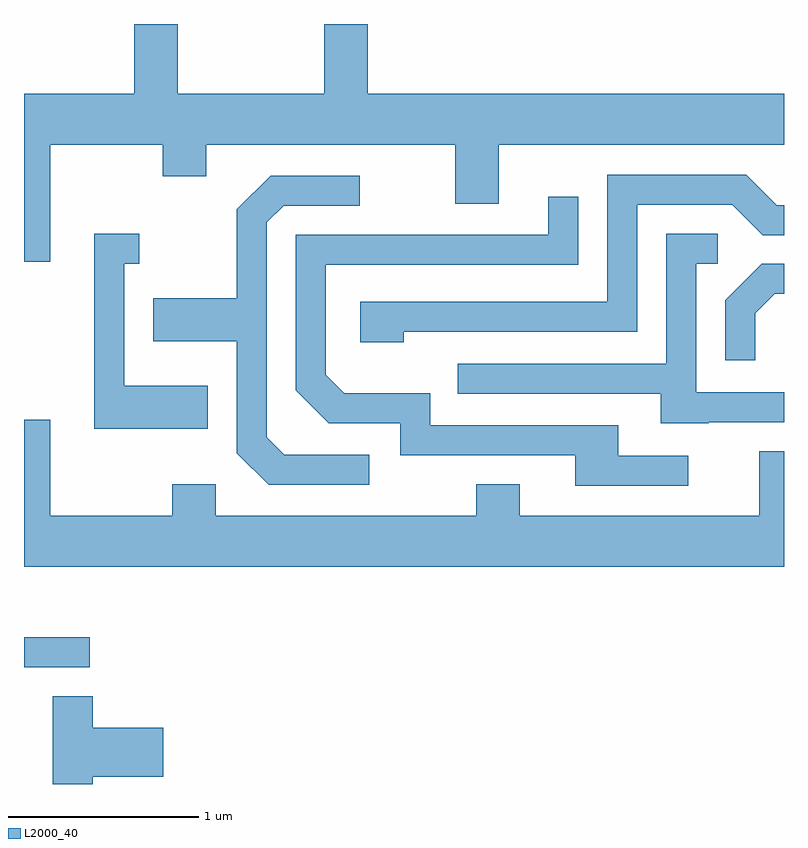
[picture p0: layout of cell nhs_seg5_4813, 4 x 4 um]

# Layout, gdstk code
import gdstk
lib = gdstk.Library(unit=1e-6, precision=1e-09)
def R(c, l, rs):  # rectangles x0, y0, x1, y1
    for r in rs: c.add(gdstk.rectangle(r[:2], r[2:], *l))
def P(c, l, *ps):  # polygons
    for p in ps: c.add(gdstk.Polygon(p, *l))
L2000_40 = (2000, 40)

nhs_seg5_4813 = lib.new_cell('nhs_seg5_4813')
R(nhs_seg5_4813, L2000_40, [(327.611,1480.686,327.958,1480.844)])
P(nhs_seg5_4813, L2000_40, [(327.749,1483.436),(328.341,1483.436),(328.341,1483.271),(328.569,1483.271),(328.569,1483.436),(329.881,1483.436),(329.881,1483.126),(330.109,1483.126),(330.109,1483.436),(331.611,1483.436),(331.611,1483.704),(329.419,1483.704),(329.419,1484.072),(329.191,1484.072),(329.191,1483.704),(328.419,1483.704),(328.419,1484.072),(328.191,1484.072),(328.191,1483.704),(327.611,1483.704),(327.611,1482.821),(327.749,1482.821)],
  [(329.609,1482.451),(330.839,1482.451),(330.839,1483.121),(331.339,1483.121),(331.499,1482.961),(331.611,1482.961),(331.611,1483.119),(331.572,1483.119),(331.412,1483.279),(330.681,1483.279),(330.681,1482.609),(329.381,1482.609),(329.381,1482.396),(329.609,1482.396)],
  [(329.428,1481.804),(328.982,1481.804),(328.889,1481.897),(328.889,1483.029),(328.977,1483.116),(329.378,1483.116),(329.378,1483.274),(328.909,1483.274),(328.731,1483.097),(328.731,1482.629),(328.291,1482.629),(328.291,1482.401),(328.731,1482.401),(328.731,1481.814),(328.899,1481.646),(329.428,1481.646)],
  [(331.108,1481.799),(330.739,1481.799),(330.739,1481.959),(329.749,1481.959),(329.749,1482.129),(329.297,1482.129),(329.199,1482.227),(329.199,1482.806),(330.529,1482.806),(330.529,1483.163),(330.371,1483.163),(330.371,1482.964),(329.041,1482.964),(329.041,1482.144),(329.214,1481.971),(329.591,1481.971),(329.591,1481.801),(330.511,1481.801),(330.511,1481.641),(331.108,1481.641)],
  [(331.215,1481.976),(331.611,1481.976),(331.611,1482.134),(331.149,1482.134),(331.149,1482.811),(331.263,1482.811),(331.263,1482.969),(330.991,1482.969),(330.991,1482.284),(329.893,1482.284),(329.893,1482.126),(330.961,1482.126),(330.961,1481.971),(331.215,1481.971)],
  [(328.579,1482.169),(328.139,1482.169),(328.139,1482.811),(328.218,1482.811),(328.218,1482.969),(327.981,1482.969),(327.981,1481.941),(328.579,1481.941)],
  [(331.459,1482.549),(331.562,1482.651),(331.611,1482.651),(331.611,1482.809),(331.494,1482.809),(331.301,1482.617),(331.301,1482.303),(331.459,1482.303)],
  [(331.611,1481.824),(331.481,1481.824),(331.481,1481.484),(330.219,1481.484),(330.219,1481.649),(329.991,1481.649),(329.991,1481.484),(328.619,1481.484),(328.619,1481.649),(328.391,1481.649),(328.391,1481.484),(327.749,1481.484),(327.749,1481.989),(327.611,1481.989),(327.611,1481.216),(331.611,1481.216)],
  [(327.974,1480.111),(328.344,1480.111),(328.344,1480.369),(327.974,1480.369),(327.974,1480.534),(327.761,1480.534),(327.761,1480.072),(327.974,1480.072)])

lib.write_gds('nhs_seg5_4813.gds')
